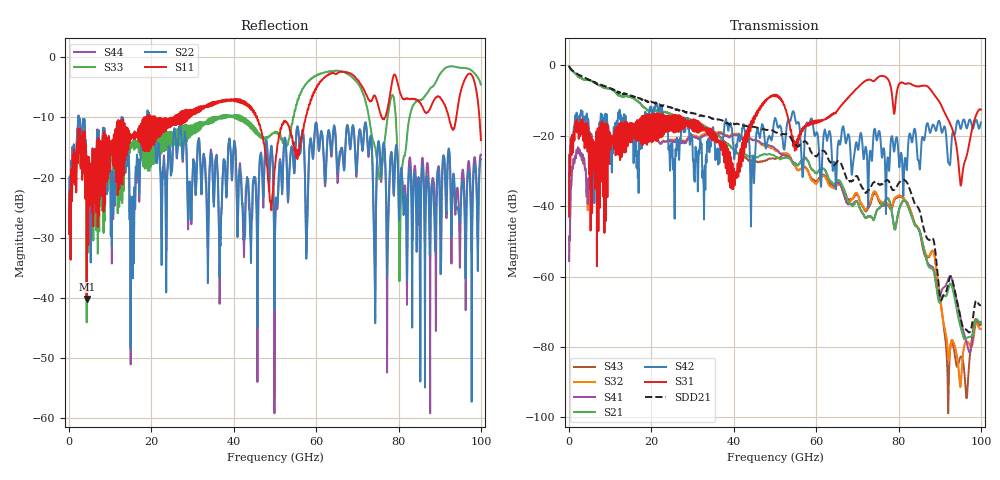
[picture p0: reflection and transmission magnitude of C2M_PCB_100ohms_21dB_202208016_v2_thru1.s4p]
! Info: Touchstone file created by Circ.  Input file=Intel_C2M_200G_8p0in_202208016_staggered.circ
# Hz S RI R 50
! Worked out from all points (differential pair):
!   10000 points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, 10 MHz to 100 GHz, reference 50 ohm
!   strongest paths, dB at 10 MHz, 25.01 GHz, 50.01 GHz, 75.01 GHz, 100 GHz:
!     S31: -42.9, -15.0, -8.3, -3.4, -12.6
!     S42: -42.9, -22.2, -15.0, -19.7, -16.3
!     S21: -0.3, -14.0, -25.9, -40.9, -73.2
!     S41: -55.5, -21.4, -23.7, -40.9, -72.9
!     S32: -55.5, -21.1, -24.2, -37.5, -74.9
!     S43: -0.3, -14.0, -26.6, -37.9, -73.5
!   taken as a pair (ports 1,3 in; 2,4 out), SDD21 dB: -0.3, -12.1, -19.0, -33.6, -68.1
!   lowest |S11| = -40.2 dB at 4.28 GHz (marker M1), VSWR 1.02, Z = 50.2 - j0.968 ohm
!   |S11| at or under -10 dB: start of sweep to 18.2 GHz; 20.79 GHz to 24.75 GHz (3.959 GHz wide, 17.4 % of centre); 45.63 GHz to 57.44 GHz (11.81 GHz wide, 22.9 % of centre)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
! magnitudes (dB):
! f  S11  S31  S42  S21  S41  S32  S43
! 10 MHz  -29.3  -42.9  -42.9  -0.3  -55.5  -55.5  -0.3
! 4.28 GHz  -40.2  -16.5  -13.8  -4.1  -35.8  -36.9  -4.1
! 44.03 GHz  -8.2  -18.7  -33.3  -26.0  -20.9  -20.7  -27.2
! 80.93 GHz  -6.7  -5.0  -28.7  -38.6  -38.8  -37.2  -37.5
! 91.9 GHz  -9.2  -15.1  -26.0  -64.5  -61.3  -80.2  -88.0
! 95.2 GHz  -5.4  -33.8  -17.9  -74.9  -72.5  -89.1  -82.7
! 100 GHz  -13.8  -12.6  -16.3  -73.2  -72.9  -74.9  -73.5
